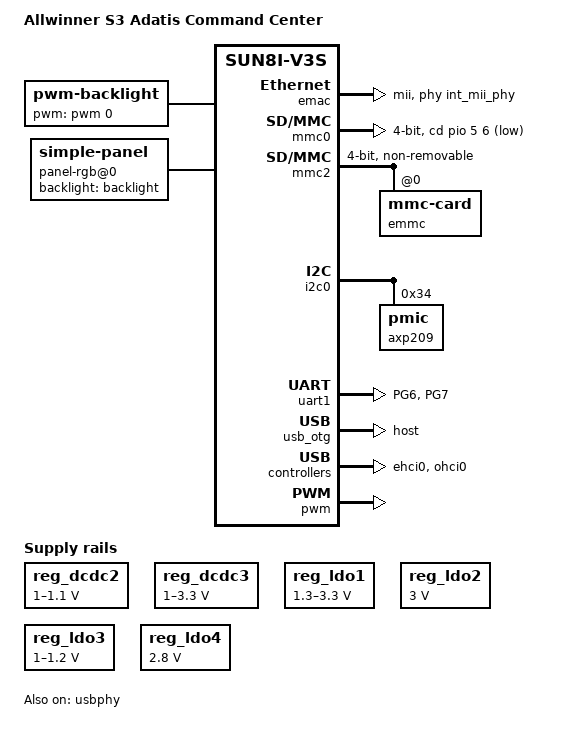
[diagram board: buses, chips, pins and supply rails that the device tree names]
/*
 * Copyright (C) 2020 Aodzip <aodzip@gmail.com>
 *
 * This file is dual-licensed: you can use it either under the terms
 * of the GPL or the X11 license, at your option. Note that this dual
 * licensing only applies to this file, and not this project as a
 * whole.
 *
 *  a) This file is free software; you can redistribute it and/or
 *     modify it under the terms of the GNU General Public License as
 *     published by the Free Software Foundation; either version 2 of the
 *     License, or (at your option) any later version.
 *
 *     This file is distributed in the hope that it will be useful,
 *     but WITHOUT ANY WARRANTY; without even the implied warranty of
 *     MERCHANTABILITY or FITNESS FOR A PARTICULAR PURPOSE.  See the
 *     GNU General Public License for more details.
 *
 * Or, alternatively,
 *
 *  b) Permission is hereby granted, free of charge, to any person
 *     obtaining a copy of this software and associated documentation
 *     files (the "Software"), to deal in the Software without
 *     restriction, including without limitation the rights to use,
 *     copy, modify, merge, publish, distribute, sublicense, and/or
 *     sell copies of the Software, and to permit persons to whom the
 *     Software is furnished to do so, subject to the following
 *     conditions:
 *
 *     The above copyright notice and this permission notice shall be
 *     included in all copies or substantial portions of the Software.
 *
 *     THE SOFTWARE IS PROVIDED "AS IS", WITHOUT WARRANTY OF ANY KIND,
 *     EXPRESS OR IMPLIED, INCLUDING BUT NOT LIMITED TO THE WARRANTIES
 *     OF MERCHANTABILITY, FITNESS FOR A PARTICULAR PURPOSE AND
 *     NONINFRINGEMENT. IN NO EVENT SHALL THE AUTHORS OR COPYRIGHT
 *     HOLDERS BE LIABLE FOR ANY CLAIM, DAMAGES OR OTHER LIABILITY,
 *     WHETHER IN AN ACTION OF CONTRACT, TORT OR OTHERWISE, ARISING
 *     FROM, OUT OF OR IN CONNECTION WITH THE SOFTWARE OR THE USE OR
 *     OTHER DEALINGS IN THE SOFTWARE.
 */

/dts-v1/;
#include "sun8i-s3.dtsi"
#include "sunxi-common-regulators.dtsi"

/ {
    model = "Allwinner S3 Adatis Command Center";
    compatible = "allwinner,sun8i-s3",
                "allwinner,sun8i-v3s";

    aliases {
        serial0 = &uart1;
    };

    chosen {
        stdout-path = "serial0:115200n8";


/*        framebuffer-lcd0 {
            compatible = "allwinner,simple-framebuffer",
                     "simple-framebuffer";
            allwinner,pipeline = "de_be0-lcd0";
            clocks = <&ccu CLK_AHB_LCD0>, <&ccu CLK_AHB_DE_BE0>,
                 <&ccu CLK_DE_BE0>, <&ccu CLK_TCON0_CH0>,
                 <&ccu CLK_DRAM_DE_BE0>;
            status = "okay";
        };*/
    };

    backlight: backlight {
        compatible = "pwm-backlight";
        pwms = <&pwm 0 50000 0>;
        brightness-levels = <0 2 4 8 16 32 64 128 255>;
        default-brightness-level = <8>;
    };

    panel-rgb@0 {
        compatible = "simple-panel";
        backlight = <&backlight>;

        display-timings {
            timing@0 {
                clock-frequency = <33000000>;
                hactive = <800>;
                vactive = <480>;
                hfront-porch = <2>;
                hback-porch = <2>;
                hsync-len = <41>;
                vfront-porch = <2>;
                vback-porch = <2>;
                vsync-len = <10>;
                hsync-active = <0>;
                vsync-active = <0>;
                de-active = <0>;
                pixelclk-active = <1>;
            };
        };
    };
};

&emac {
    phy-handle = <&int_mii_phy>;
    phy-mode = "mii";
    allwinner,use-internal-phy;
    status = "okay";
};

&mmc0 {
    cd-gpios = <&pio 5 6 GPIO_ACTIVE_LOW>; /* PF6 */
    bus-width = <4>;
    status = "okay";
};

&mmc2 {
    non-removable;
//    max-speed = <20000000>;
    bus-width = <4>;
    status = "okay";

    emmc: emmc@0 {
        reg = <0>;
        compatible = "mmc-card";
        broken-hpi;
    };    
};

&spi0 {
    status = "disabled";
};


&i2c0 {
    status = "okay";

    axp209: pmic@34 {
        reg = <0x34>;
        interrupt-parent = <&nmi_intc>;
        interrupts = <0 IRQ_TYPE_LEVEL_LOW>;
    };
};

&pio {
    uart1_pins_g: uart1@0 {
        pins = "PG6", "PG7";
        function = "uart1";
        bias-pull-up;
    };

/*    test: st@0 {
        pins = "PE24", "PG8", "PG9", "PG0", "PG4", "PG5";
        function = "gpio_in";
        drive-strength = <20>;
        bias-pull-up;
    };

    stm32: st@1 {
        pins = "PB3";
        function = "gpio_out";
        drive-strength = <20>;
        bias-pull-down;
    };*/

};

#include "axp209.dtsi"

&reg_dcdc2 {
    regulator-always-on;
    regulator-min-microvolt = <1000000>;
    regulator-max-microvolt = <1100000>;
    regulator-name = "vdd-cpu";
};

&reg_dcdc3 {
    regulator-always-on;
    regulator-min-microvolt = <1000000>;
    regulator-max-microvolt = <3300000>;
    regulator-name = "vdd-int-dll";
};

&reg_ldo1 {
    regulator-always-on;
    regulator-min-microvolt = <1300000>;
    regulator-max-microvolt = <3300000>;
    regulator-name = "vdd-rtc";
};

&reg_ldo2 {
    regulator-always-on;
    regulator-min-microvolt = <3000000>;
    regulator-max-microvolt = <3000000>;
    regulator-name = "avcc";
};

&reg_ldo3 {
    regulator-min-microvolt = <1000000>;
    regulator-max-microvolt = <1200000>;
    regulator-name = "vddio-csi0";
    regulator-soft-start;
    regulator-ramp-delay = <1600>;
};

&reg_ldo4 {
    regulator-min-microvolt = <2800000>;
    regulator-max-microvolt = <2800000>;
    regulator-name = "vddio-csi1";
};



&uart1 {
    status = "okay";
    pinctrl-names = "default";
    pinctrl-0 = <&uart1_pins_g>; 
};

&usb_otg {
    pinctrl-names = "default";  
    dr_mode = "host";
    status = "okay";
};

&usbphy {
    status = "okay";
};

&ehci0 {
    status = "okay";
};

&ohci0 {
    status = "okay";
};

&pwm {
    status = "okay";
};



